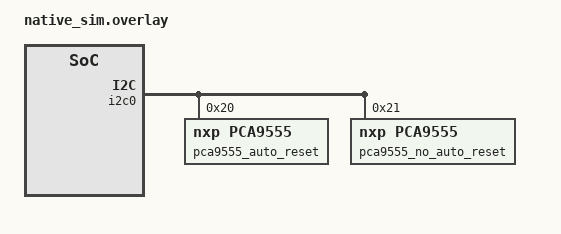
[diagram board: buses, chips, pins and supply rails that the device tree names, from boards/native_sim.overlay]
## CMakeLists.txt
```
# SPDX-License-Identifier: Apache-2.0
# Copyright (c) 2026 The Zephyr Project Contributors

cmake_minimum_required(VERSION 3.20.0)
find_package(Zephyr REQUIRED HINTS $ENV{ZEPHYR_BASE})
project(gpio_pca_series)

target_sources(app PRIVATE
	src/main.c
	src/pca9555_emul.c
)
```

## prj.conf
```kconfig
# SPDX-License-Identifier: Apache-2.0
# Copyright (c) 2026 The Zephyr Project Contributors

CONFIG_ZTEST=y
CONFIG_GPIO=y
CONFIG_GPIO_PCA_SERIES=y
CONFIG_GPIO_PCA_SERIES_INTERRUPT=n
CONFIG_EMUL=y
```

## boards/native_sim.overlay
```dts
// SPDX-License-Identifier: Apache-2.0
// Copyright (c) 2026 The Zephyr Project Contributors

&i2c0 {
	pca9555_auto_reset: gpio@20 {
		compatible = "nxp,pca9555";
		reg = <0x20>;
		gpio-controller;
		#gpio-cells = <2>;
		ngpios = <16>;
	};

	pca9555_no_auto_reset: gpio@21 {
		compatible = "nxp,pca9555";
		reg = <0x21>;
		gpio-controller;
		#gpio-cells = <2>;
		ngpios = <16>;
		no-auto-reset;
	};
};
```

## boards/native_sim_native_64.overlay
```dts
// SPDX-License-Identifier: Apache-2.0
// Copyright (c) 2026 The Zephyr Project Contributors

#include "native_sim.overlay"
```

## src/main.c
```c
/*
 * Copyright (c) 2026 The Zephyr Project Contributors
 *
 * SPDX-License-Identifier: Apache-2.0
 */

#include <zephyr/device.h>
#include <zephyr/devicetree.h>
#include <zephyr/drivers/emul.h>
#include <zephyr/drivers/gpio.h>
#include <zephyr/ztest.h>

#include "pca9555_emul.h"

#define PCA9555_REG_INPUT_PORT0              0x00
#define PCA9555_REG_OUTPUT_PORT0             0x02
#define PCA9555_REG_POLARITY_INVERSION_PORT0 0x04
#define PCA9555_REG_CONFIGURATION_PORT0      0x06

static const struct device *const auto_reset_dev = DEVICE_DT_GET(DT_NODELABEL(pca9555_auto_reset));
static const struct emul *const auto_reset_emul = EMUL_DT_GET(DT_NODELABEL(pca9555_auto_reset));
static const struct device *const no_auto_reset_dev =
	DEVICE_DT_GET(DT_NODELABEL(pca9555_no_auto_reset));
static const struct emul *const no_auto_reset_emul =
	EMUL_DT_GET(DT_NODELABEL(pca9555_no_auto_reset));

ZTEST(gpio_pca_series, test_automatic_reset_restores_all_basic_registers)
{
	zassert_true(device_is_ready(auto_reset_dev));

	zexpect_equal(pca9555_emul_get_word(auto_reset_emul, PCA9555_REG_OUTPUT_PORT0), UINT16_MAX);
	zexpect_equal(pca9555_emul_get_word(auto_reset_emul, PCA9555_REG_POLARITY_INVERSION_PORT0),
		      0);
	zexpect_equal(pca9555_emul_get_word(auto_reset_emul, PCA9555_REG_CONFIGURATION_PORT0),
		      UINT16_MAX);
}

ZTEST(gpio_pca_series, test_no_auto_reset_preserves_polarity_inversion)
{
	zassert_true(device_is_ready(no_auto_reset_dev));
	zexpect_equal(
		pca9555_emul_get_word(no_auto_reset_emul, PCA9555_REG_POLARITY_INVERSION_PORT0),
		PCA9555_EMUL_INITIAL_POLARITY);
}

ZTEST(gpio_pca_series, test_port_get_returns_both_input_ports)
{
	gpio_port_value_t value = 0;

	pca9555_emul_set_word(auto_reset_emul, PCA9555_REG_INPUT_PORT0, 0xa55a);

	zassert_ok(gpio_port_get_raw(auto_reset_dev, &value));
	zexpect_equal(value, 0xa55a);
}

ZTEST_SUITE(gpio_pca_series, NULL, NULL, NULL, NULL, NULL);
```

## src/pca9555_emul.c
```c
/*
 * Copyright (c) 2026 The Zephyr Project Contributors
 *
 * SPDX-License-Identifier: Apache-2.0
 */

#define DT_DRV_COMPAT nxp_pca9555

#include <zephyr/drivers/emul.h>
#include <zephyr/drivers/i2c_emul.h>
#include <zephyr/sys/byteorder.h>
#include <zephyr/sys/util.h>

#include "pca9555_emul.h"

#define PCA9555_REGISTER_COUNT 8

struct pca9555_emul_data {
	uint8_t registers[PCA9555_REGISTER_COUNT];
};

static int pca9555_emul_transfer(const struct emul *target, struct i2c_msg *msgs, int num_msgs,
				 int addr)
{
	struct pca9555_emul_data *data = target->data;
	uint8_t reg;

	ARG_UNUSED(addr);

	if (num_msgs != 2 || msgs[0].len != 1 || (msgs[0].flags & I2C_MSG_READ) != 0) {
		return -EIO;
	}

	reg = msgs[0].buf[0];
	if (reg >= PCA9555_REGISTER_COUNT || msgs[1].len > PCA9555_REGISTER_COUNT - reg) {
		return -EIO;
	}

	if ((msgs[1].flags & I2C_MSG_READ) != 0) {
		memcpy(msgs[1].buf, &data->registers[reg], msgs[1].len);
	} else {
		memcpy(&data->registers[reg], msgs[1].buf, msgs[1].len);
	}

	return 0;
}

uint16_t pca9555_emul_get_word(const struct emul *target, uint8_t reg)
{
	struct pca9555_emul_data *data = target->data;

	return sys_get_le16(&data->registers[reg]);
}

void pca9555_emul_set_word(const struct emul *target, uint8_t reg, uint16_t value)
{
	struct pca9555_emul_data *data = target->data;

	sys_put_le16(value, &data->registers[reg]);
}

static int pca9555_emul_init(const struct emul *target, const struct device *parent)
{
	ARG_UNUSED(target);
	ARG_UNUSED(parent);

	return 0;
}

static const struct i2c_emul_api pca9555_emul_api = {
	.transfer = pca9555_emul_transfer,
};

#define PCA9555_EMUL(inst)                                                                         \
	static struct pca9555_emul_data pca9555_emul_data_##inst = {                               \
		.registers =                                                                       \
			{                                                                          \
				[0x00] = 0x5a,                                                     \
				[0x01] = 0xa5,                                                     \
				[0x02] = 0x34,                                                     \
				[0x03] = 0x12,                                                     \
				[0x04] = (PCA9555_EMUL_INITIAL_POLARITY & 0xff),                   \
				[0x05] = (PCA9555_EMUL_INITIAL_POLARITY >> 8),                     \
				[0x06] = 0x0f,                                                     \
				[0x07] = 0xf0,                                                     \
			},                                                                         \
	};                                                                                         \
	EMUL_DT_INST_DEFINE(inst, pca9555_emul_init, &pca9555_emul_data_##inst, NULL,              \
			    &pca9555_emul_api, NULL)

DT_INST_FOREACH_STATUS_OKAY(PCA9555_EMUL)
```

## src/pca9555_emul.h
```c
/* SPDX-License-Identifier: Apache-2.0 */
/* Copyright (c) 2026 The Zephyr Project Contributors */

#ifndef ZEPHYR_TESTS_DRIVERS_GPIO_GPIO_PCA_SERIES_PCA9555_EMUL_H_
#define ZEPHYR_TESTS_DRIVERS_GPIO_GPIO_PCA_SERIES_PCA9555_EMUL_H_

#include <stdint.h>

struct emul;

#define PCA9555_EMUL_INITIAL_POLARITY 0x9669

uint16_t pca9555_emul_get_word(const struct emul *target, uint8_t reg);
void pca9555_emul_set_word(const struct emul *target, uint8_t reg, uint16_t value);

#endif /* ZEPHYR_TESTS_DRIVERS_GPIO_GPIO_PCA_SERIES_PCA9555_EMUL_H_ */
```
